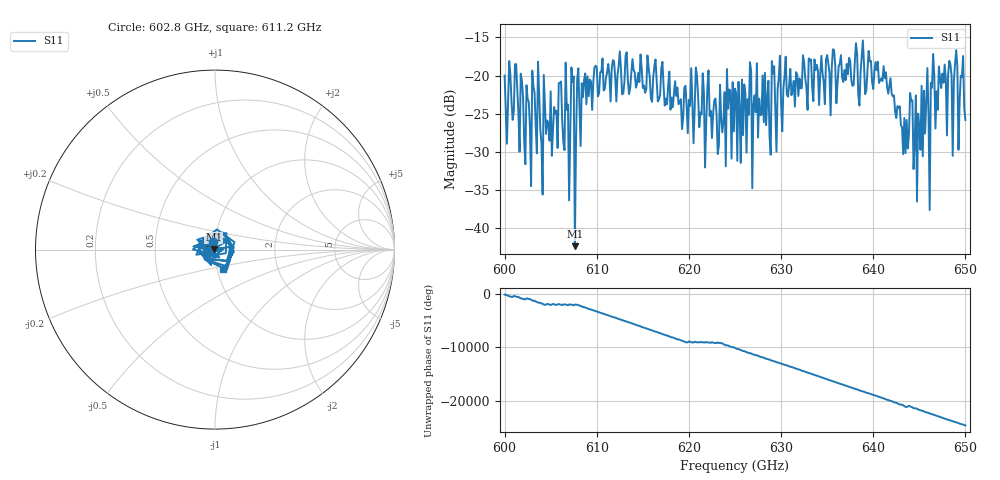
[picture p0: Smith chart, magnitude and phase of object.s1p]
!Created with skrf (http://scikit-rf.org).
# GHz S MA R 50.0
!freq magS11 angS11
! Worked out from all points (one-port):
!   401 points, 600 GHz to 650 GHz, reference 50 ohm
!   lowest |S11| = -42.3 dB at 607.6 GHz (marker M1), VSWR 1.02, Z = 49.3 + j0.213 ohm
!   |S11| at or under -10 dB: start of sweep to end of sweep
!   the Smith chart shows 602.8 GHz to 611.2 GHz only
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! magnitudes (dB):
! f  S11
! 600 GHz  -20.0
! 601.2 GHz  -18.5
! 602.6 GHz  -23.5
! 603.4 GHz  -26.6
! 604.2 GHz  -19.9
! 605.9 GHz  -21.0
! 606.2 GHz  -25.9
! 607.6 GHz  -42.3
! 608.6 GHz  -20.5
! 612.5 GHz  -16.8
! 618.8 GHz  -21.6
! 619.1 GHz  -23.1
! 622.1 GHz  -19.3
! 623.4 GHz  -21.2
! 625 GHz  -21.7
! 628.2 GHz  -19.7
! 628.6 GHz  -20.7
! 629.1 GHz  -19.7
! 631.2 GHz  -21.8
! 637.5 GHz  -18.1
! 641.1 GHz  -18.8
! 643.2 GHz  -30.3
! 643.8 GHz  -29.6
! 644.4 GHz  -32.2
! 644.6 GHz  -22.6
! 647.4 GHz  -21.6
! 649.6 GHz  -20.2
! 650 GHz  -25.8
